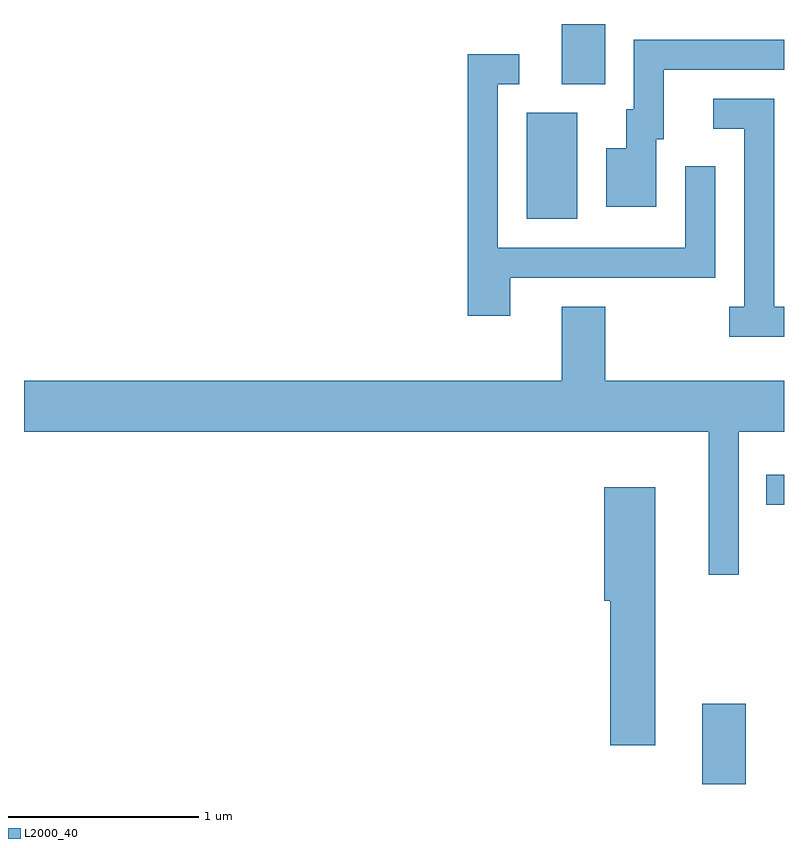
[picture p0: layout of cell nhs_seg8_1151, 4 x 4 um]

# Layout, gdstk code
import gdstk
lib = gdstk.Library(unit=1e-6, precision=1e-09)
def R(c, l, rs):  # rectangles x0, y0, x1, y1
    for r in rs: c.add(gdstk.rectangle(r[:2], r[2:], *l))
def P(c, l, *ps):  # polygons
    for p in ps: c.add(gdstk.Polygon(p, *l))
L2000_40 = (2000, 40)

nhs_seg8_1151 = lib.new_cell('nhs_seg8_1151')
R(nhs_seg8_1151, L2000_40, [(223.181,1832.342,223.409,1832.764), (223.518,1833.811,223.611,1833.969), (222.256,1835.316,222.524,1835.874), (222.441,1836.026,222.669,1836.342)])
P(nhs_seg8_1151, L2000_40, [(222.939,1835.736),(222.979,1835.736),(222.979,1836.101),(223.611,1836.101),(223.611,1836.259),(222.821,1836.259),(222.821,1835.894),(222.781,1835.894),(222.781,1835.689),(222.676,1835.689),(222.676,1835.381),(222.939,1835.381)],
  [(222.169,1835.006),(223.249,1835.006),(223.249,1835.593),(223.091,1835.593),(223.091,1835.164),(222.104,1835.164),(222.104,1836.026),(222.218,1836.026),(222.218,1836.184),(221.946,1836.184),(221.946,1834.806),(222.169,1834.806)],
  [(223.611,1834.854),(223.559,1834.854),(223.559,1835.949),(223.238,1835.949),(223.238,1835.791),(223.401,1835.791),(223.401,1834.854),(223.323,1834.854),(223.323,1834.696),(223.611,1834.696)],
  [(223.374,1834.196),(223.611,1834.196),(223.611,1834.464),(222.669,1834.464),(222.669,1834.854),(222.441,1834.854),(222.441,1834.464),(219.611,1834.464),(219.611,1834.196),(223.216,1834.196),(223.216,1833.443),(223.374,1833.443)],
  [(222.934,1833.904),(222.666,1833.904),(222.666,1833.306),(222.696,1833.306),(222.696,1832.546),(222.934,1832.546)])

lib.write_gds('nhs_seg8_1151.gds')
